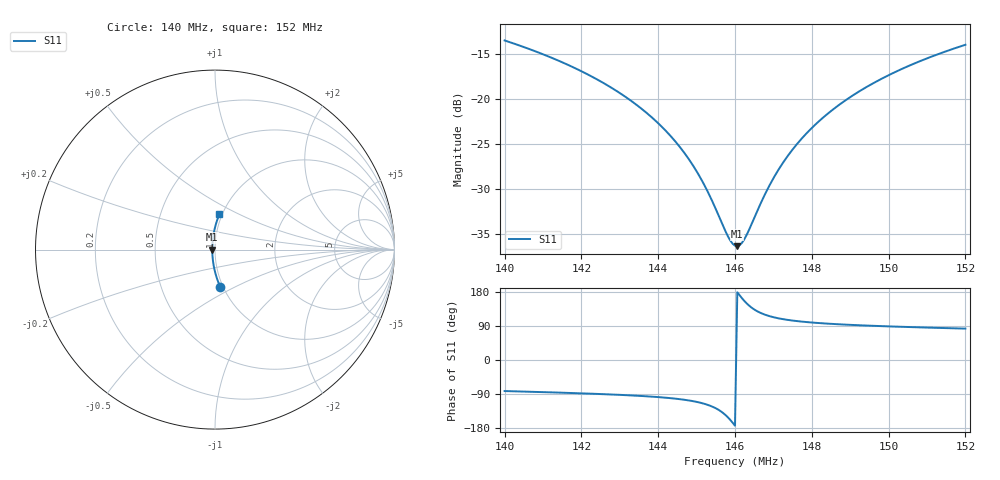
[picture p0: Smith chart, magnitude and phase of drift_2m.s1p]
! Synthetic NanoVNA-style sweep for s1pdiff self-test
# Hz S RI R 50
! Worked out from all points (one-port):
!   201 points, 140 MHz to 152 MHz, reference 50 ohm
!   lowest |S11| = -36.3 dB at 146.1 MHz (marker M1), VSWR 1.03, Z = 48.5 + j0.0342 ohm
!   |S11| at or under -10 dB: start of sweep to end of sweep
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1.4e8  0.0296 -0.2085
1.415e8  0.0103 -0.159
1.4228e8  0.00236 -0.1325
1.43e8  -0.00371 -0.1075
1.4342e8  -0.00666 -0.0929
1.4384e8  -0.00918 -0.0781
1.442e8  -0.011 -0.0654
1.445e8  -0.0123 -0.0548
1.448e8  -0.0133 -0.0442
1.451e8  -0.0141 -0.0336
1.454e8  -0.0147 -0.023
1.4582e8  -0.0152 -0.00812
1.4594e8  -0.0152 -0.00388
1.46e8  -0.0152 -0.00176
1.4606e8  -0.0152 0.000353
1.4612e8  -0.0152 0.00247
1.4624e8  -0.0152 0.0067
1.4672e8  -0.0147 0.0236
1.469e8  -0.0143 0.0299
1.472e8  -0.0136 0.0404
1.475e8  -0.0127 0.0508
1.478e8  -0.0115 0.0612
1.4816e8  -0.00987 0.0735
1.4858e8  -0.00757 0.0878
1.49e8  -0.00487 0.102
1.4972e8  0.000635 0.1259
1.505e8  0.00781 0.1512
1.52e8  0.0249 0.1977
